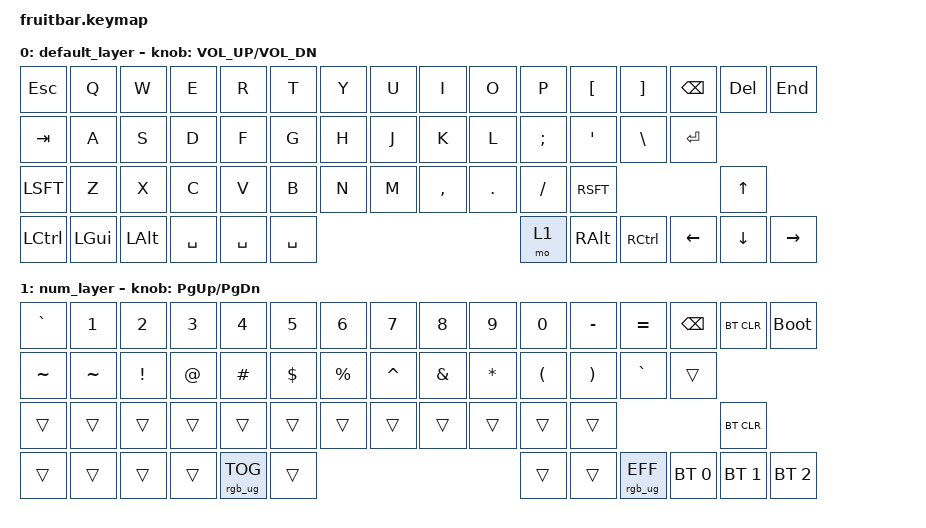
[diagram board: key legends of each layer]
#include <behaviors.dtsi>
#include <dt-bindings/zmk/keys.h>
#include <dt-bindings/zmk/rgb.h>
#include <dt-bindings/zmk/bt.h>
#include <dt-bindings/zmk/outputs.h>
#include <dt-bindings/zmk/ext_power.h>

/ {
	keymap {
		compatible = "zmk,keymap";

		default_layer {
			bindings = <
				&kp ESC		&kp Q   	&kp W		&kp E   	&kp R		&kp T		&kp Y		&kp U   	&kp I   	&kp O   	&kp P   	&kp LBKT	&kp RBKT	&kp BSPC			&kp DEL 	&kp END
				&kp TAB 	&kp A   	&kp S   	&kp D   	&kp F		&kp G		&kp H		&kp J   	&kp K   	&kp L   	&kp SCLN  	&kp QUOT  	&kp BSLH	&kp RET
				&kp LSFT   	&kp Z		&kp X   	&kp C   	&kp V		&kp B		&kp N 		&kp M   	&kp COMMA	&kp DOT 	&kp FSLH    &kp RSFT                           			&kp UP
				&kp LCTL 	&kp LGUI  	&kp LALT				&kp SPC		&kp SPC		&kp SPC        			&mo 1   	&kp RALT  	&kp RCTL                                    &kp LEFT	&kp DOWN	&kp RIGHT
			>;

			sensor-bindings = <&inc_dec_kp C_VOL_UP C_VOL_DN>;
		};

		num_layer {
			bindings = <
				&kp GRAVE  	&kp N1 		&kp N2  	&kp N3 		&kp N4 		&kp N5 		&kp N6 		&kp N7 		&kp N8 		&kp N9 		&kp N0 		&kp MINUS 	&kp EQUAL 	&kp BSPC			&bt BT_CLR 	&bootloader
				&kp TILDE 	&kp TILDE 	&kp EXCL  	&kp AT  	&kp HASH 	&kp DLLR 	&kp PRCNT 	&kp CARET 	&kp AMPS 	&kp STAR  	&kp LPAR  	&kp  RPAR 	&kp GRAVE 	&trans
				&trans 		&trans 		&trans 		&trans	 	&trans 		&trans 		&trans 		&trans 		&trans 		&trans 		&trans 		&trans                                      &bt BT_CLR
				&trans 		&trans 		&trans 					&trans 		&rgb_ug RGB_TOG 		&trans 					&trans    	&trans 		&rgb_ug RGB_EFF				   &bt BT_SEL 0	&bt BT_SEL 1 &bt BT_SEL 2
			>;

			sensor-bindings = <&inc_dec_kp PG_UP PG_DN>;
		};
	};
};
